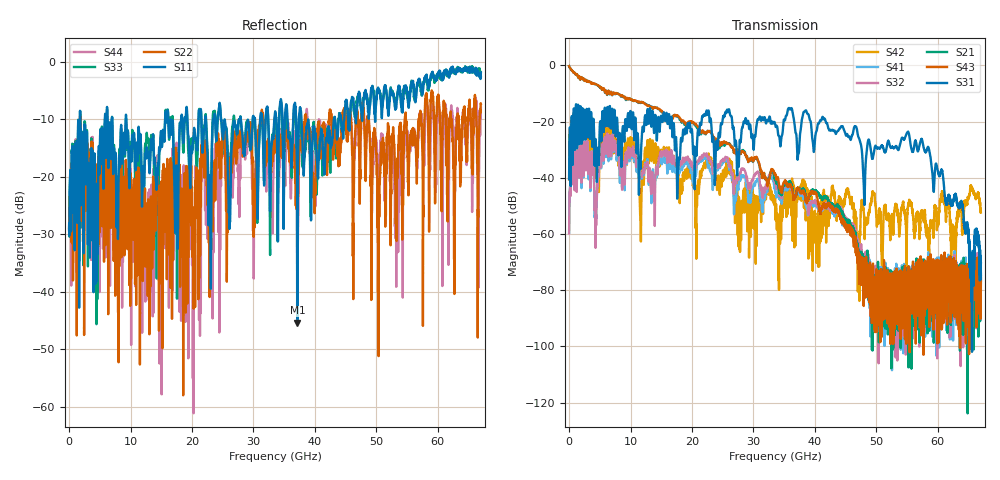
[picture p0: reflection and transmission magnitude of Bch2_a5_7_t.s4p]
!Agilent Technologies,N5247A,US51170199,A.09.90.13
!Agilent N5247A: A.09.90.13
!Date: Monday, October 22, 2018 16:02:23
!Correction: S11(Full 4 Port(1,2,3,4))
!S12(Full 4 Port(1,2,3,4))
!S13(Full 4 Port(1,2,3,4))
!S14(Full 4 Port(1,2,3,4))
!S21(Full 4 Port(1,2,3,4))
!S22(Full 4 Port(1,2,3,4))
!S23(Full 4 Port(1,2,3,4))
!S24(Full 4 Port(1,2,3,4))
!S31(Full 4 Port(1,2,3,4))
!S32(Full 4 Port(1,2,3,4))
!S33(Full 4 Port(1,2,3,4))
!S34(Full 4 Port(1,2,3,4))
!S41(Full 4 Port(1,2,3,4))
!S42(Full 4 Port(1,2,3,4))
!S43(Full 4 Port(1,2,3,4))
!S44(Full 4 Port(1,2,3,4))
!S4P File: Measurements: <S11,S12,S13,S14>,
!<S21,S22,S23,S24>,
!<S31,S32,S33,S34>,
!<S41,S42,S43,S44>:
# Hz S  dB  R 50
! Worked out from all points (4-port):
!   6701 points, 10 MHz to 67 GHz, reference 50 ohm
!   strongest paths, dB at 10 MHz, 16.76 GHz, 33.51 GHz, 50.25 GHz, 67 GHz:
!     S31: -40.5, -22.2, -20.8, -29.4, -70.4
!     S43: -0.3, -18.7, -38.6, -78.1, -75.7
!     S21: -0.3, -18.3, -40.2, -76.2, -74.7
!     S32: -59.8, -33.8, -41.6, -81.7, -76.9
!     S41: -59.6, -36.4, -44.5, -75.2, -77.9
!     S42: -40.6, -33.7, -47.4, -55.3, -52.3
!   lowest |S11| = -45.4 dB at 37.16 GHz (marker M1), VSWR 1.01, Z = 49.7 - j0.421 ohm
!   |S11| at or under -10 dB: 1.822 GHz to 5.834 GHz (4.012 GHz wide, 105 % of centre); 9.3 GHz to 15.63 GHz (6.332 GHz wide, 50.8 % of centre); 37.82 GHz to 43.1 GHz (5.28 GHz wide, 13 % of centre)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
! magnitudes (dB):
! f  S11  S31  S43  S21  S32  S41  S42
! 10 MHz  -29.0  -40.5  -0.3  -0.3  -59.8  -59.6  -40.6
! 6.029 GHz  -16.1  -21.5  -9.1  -9.2  -30.8  -31.8  -30.6
! 11.59 GHz  -13.0  -36.9  -13.2  -13.4  -38.4  -39.5  -53.3
! 13.4 GHz  -13.7  -21.9  -14.8  -14.7  -44.2  -49.0  -34.1
! 37.16 GHz  -45.4  -33.3  -43.7  -43.7  -43.7  -44.1  -44.3
! 57.35 GHz  -5.1  -26.2  -71.7  -72.1  -75.3  -78.6  -52.4
! 67 GHz  -1.9  -70.4  -75.7  -74.7  -76.9  -77.9  -52.3
